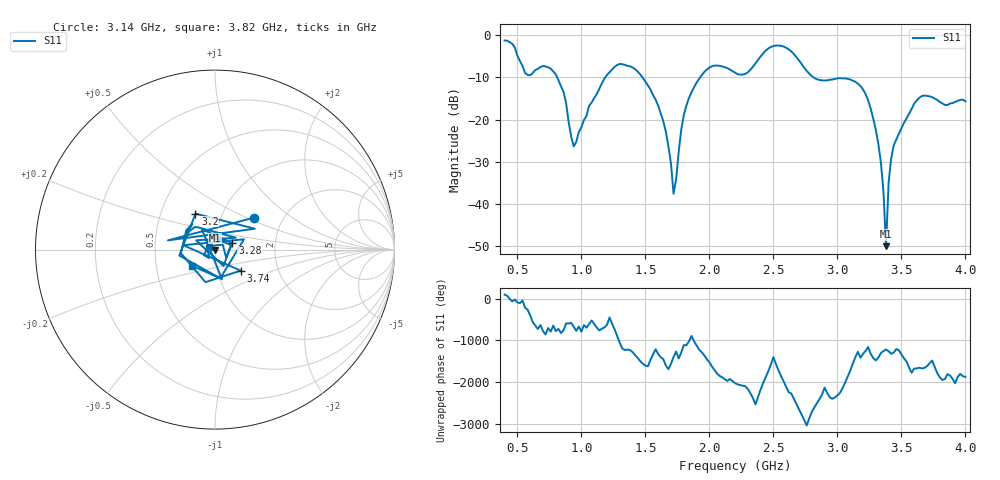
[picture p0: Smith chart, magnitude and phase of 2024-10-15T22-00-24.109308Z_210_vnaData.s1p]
! Created with skrf (http://scikit-rf.org).
# Hz S RI R 50.0
!freq ReS11 ImS11
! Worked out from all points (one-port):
!   181 points, 400 MHz to 4 GHz, reference 50 ohm
!   lowest |S11| = -50.0 dB at 3.38 GHz (marker M1), VSWR 1.01, Z = 49.8 - j0.21 ohm
!   |S11| at or under -10 dB: 811 MHz to 1.186 GHz (374.9 MHz wide, 37.5 % of centre); 1.478 GHz to 1.927 GHz (449.5 MHz wide, 26.4 % of centre); 2.815 GHz to end of sweep
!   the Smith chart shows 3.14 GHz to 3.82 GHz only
!   S11 on the Smith chart (normalised r, x): 3.14 GHz: 1.43, +0.55; 3.2 GHz: 0.75, +0.32; 3.28 GHz: 1.21, +0.09; 3.74 GHz: 1.29, -0.31; 3.82 GHz: 0.76, -0.14
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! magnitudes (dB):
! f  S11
! 400 MHz  -1.2
! 560 MHz  -8.9
! 740 MHz  -7.6
! 860 MHz  -13.4
! 940 MHz  -26.3
! 1.3 GHz  -6.8
! 1.6 GHz  -16.7
! 1.68 GHz  -26.4
! 1.72 GHz  -37.6
! 1.76 GHz  -27.6
! 1.82 GHz  -16.7
! 1.92 GHz  -10.3
! 2.2 GHz  -8.9
! 2.5 GHz  -2.5
! 2.66 GHz  -4.5
! 2.84 GHz  -10.4
! 3.1 GHz  -10.5
! 3.14 GHz  -11.0
! 3.2 GHz  -12.8
! 3.28 GHz  -19.8
! 3.34 GHz  -30.2
! 3.38 GHz  -50.0
! 3.4 GHz  -35.0
! 3.42 GHz  -29.2
! 3.56 GHz  -18.6
! 3.74 GHz  -14.7
! 3.82 GHz  -16.2
! 4 GHz  -15.6
